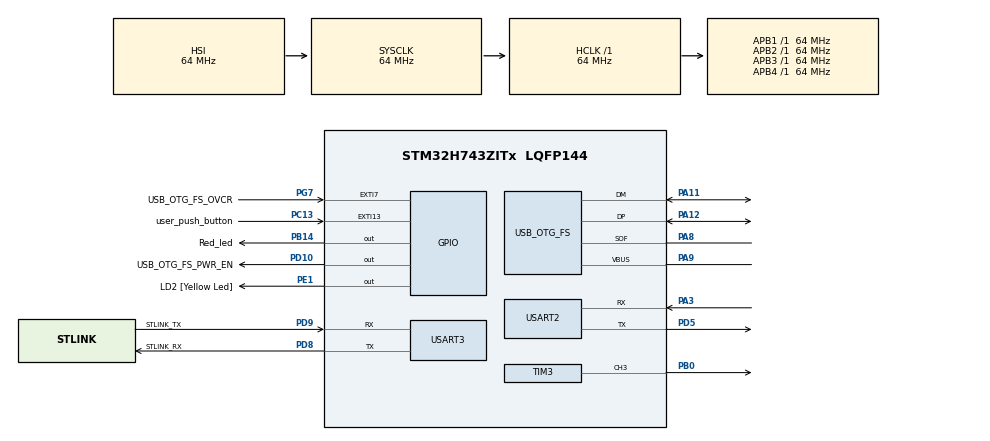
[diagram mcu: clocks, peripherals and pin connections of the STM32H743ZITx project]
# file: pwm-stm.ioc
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Mcu.Family=STM32H7
Mcu.Name=STM32H743ZITx
Mcu.Package=LQFP144
NVIC.EXTI15_10_IRQn=true\:0\:0\:false\:false\:true\:true\:true\:true
NVIC.PriorityGroup=NVIC_PRIORITYGROUP_4
NVIC.USART2_IRQn=true\:0\:0\:false\:false\:true\:true\:true\:true
PA1.Signal=ETH_REF_CLK
PA11.Mode=Device_Only
PA11.Signal=USB_OTG_FS_DM
PA12.Mode=Device_Only
PA12.Signal=USB_OTG_FS_DP
PA2.Signal=ETH_MDIO
PA3.Mode=Asynchronous
PA3.Signal=USART2_RX
PA7.Signal=ETH_CRS_DV
PA8.Mode=Activate_SOF_FS
PA8.Signal=USB_OTG_FS_SOF
PA9.Mode=Activate_VBUS
PA9.Signal=USB_OTG_FS_VBUS
PB0.Signal=S_TIM3_CH3
PB13.Signal=ETH_TXD1
PB14.GPIO_Label=Red_led
PB14.Signal=GPIO_Output
PC1.Signal=ETH_MDC
PC13.GPIO_Label=user_push_button
PC13.GPIO_PuPd=GPIO_PULLDOWN
PC13.Signal=GPXTI13
PC14-OSC32_IN\ (OSC32_IN).Mode=LSE-External-Oscillator
PC14-OSC32_IN\ (OSC32_IN).Signal=RCC_OSC32_IN
PC15-OSC32_OUT\ (OSC32_OUT).Mode=LSE-External-Oscillator
PC15-OSC32_OUT\ (OSC32_OUT).Signal=RCC_OSC32_OUT
PC4.Signal=ETH_RXD0
PC5.Signal=ETH_RXD1
PD10.GPIO_Label=USB_OTG_FS_PWR_EN
PD10.Signal=GPIO_Output
PD5.Mode=Asynchronous
PD5.Signal=USART2_TX
PD8.GPIO_Label=STLINK_RX
PD8.Mode=Asynchronous
PD8.Signal=USART3_TX
PD9.GPIO_Label=STLINK_TX
PD9.Mode=Asynchronous
PD9.Signal=USART3_RX
PE1.GPIO_Label=LD2 [Yellow Led]
PE1.Signal=GPIO_Output
PG11.Signal=ETH_TX_EN
PG13.Signal=ETH_TXD0
PG7.GPIO_Label=USB_OTG_FS_OVCR
PG7.Signal=GPXTI7
PH0-OSC_IN\ (PH0).Mode=HSE-External-Clock-Source
PH0-OSC_IN\ (PH0).Signal=RCC_OSC_IN
PH1-OSC_OUT\ (PH1).Signal=RCC_OSC_OUT
ProjectManager.HeapSize=0x200
ProjectManager.StackSize=0x400
ProjectManager.TargetToolchain=STM32CubeIDE
RCC.ADCFreq_Value=16125000
RCC.APB1Freq_Value=64000000
RCC.APB2Freq_Value=64000000
RCC.APB3Freq_Value=64000000
RCC.APB4Freq_Value=64000000
RCC.CortexFreq_Value=64000000
RCC.DIVM1=1
RCC.DIVN1=24
RCC.DIVQ1=4
RCC.HCLKFreq_Value=64000000
RCC.HSE_VALUE=8000000
RCC.PLLFRACN=0
RCC.PWR_Regulator_Voltage_Scale=PWR_REGULATOR_VOLTAGE_SCALE2
RCC.SYSCLKFreq_VALUE=64000000
RCC.USBFreq_Value=48000000
SH.S_TIM3_CH3.0=TIM3_CH3,PWM Generation3 CH3
TIM3.Channel-PWM\ Generation3\ CH3=TIM_CHANNEL_3
USART2.VirtualMode-Asynchronous=VM_ASYNC
USART3.VirtualMode-Asynchronous=VM_ASYNC
USB_OTG_FS.VirtualMode=Device_Only
board=NUCLEO-H743ZI2

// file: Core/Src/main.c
/* USER CODE BEGIN Header */
/**
  ******************************************************************************
  * @file           : main.c
  * @brief          : Main program body
  ******************************************************************************
  * @attention
  *
  * Copyright (c) 2024 STMicroelectronics.
  * All rights reserved.
  *
  * This software is licensed under terms that can be found in the LICENSE file
  * in the root directory of this software component.
  * If no LICENSE file comes with this software, it is provided AS-IS.
  *
  ******************************************************************************
  */
/* USER CODE END Header */
#include "main.h"

/* USER CODE BEGIN Includes */
#include <string.h>
#include <stdio.h>
/* USER CODE END Includes */

TIM_HandleTypeDef htim3;

UART_HandleTypeDef huart2;
UART_HandleTypeDef huart3;

PCD_HandleTypeDef hpcd_USB_OTG_FS;

void SystemClock_Config(void);
static void MX_GPIO_Init(void);
static void MX_USART3_UART_Init(void);
static void MX_USB_OTG_FS_PCD_Init(void);
static void MX_TIM3_Init(void);
static void MX_USART2_UART_Init(void);

/* USER CODE BEGIN 0 */

static uint8_t uart_rx_data[1024];

void HAL_UART_RxCpltCallback(UART_HandleTypeDef *huart)
{
    if (huart->Instance == USART2)
    {
        // Process the received data
    	HAL_UART_Transmit(&huart2, uart_rx_data, 32, 200);
        HAL_UART_Receive_IT(&huart2, uart_rx_data, 32); // Re-enable interrupt
    }
}

void USART3_IRQHandler(void)
{
    HAL_UART_IRQHandler(&huart3);
}

/* USER CODE END 0 */

int main(void)
{

  /* MCU Configuration--------------------------------------------------------*/

  /* Reset of all peripherals, Initializes the Flash interface and the Systick. */
  HAL_Init();

  /* Configure the system clock */
  SystemClock_Config();

  /* Initialize all configured peripherals */
  MX_GPIO_Init();
  MX_USART3_UART_Init();
  MX_USB_OTG_FS_PCD_Init();
  MX_TIM3_Init();
  MX_USART2_UART_Init();
  /* USER CODE BEGIN 2 */

  HAL_UART_Receive_IT(&huart2, uart_rx_data, 1024);

  HAL_TIM_PWM_Start(&htim3, TIM_CHANNEL_3);
  int count = 0;
  uint8_t data_tx[32] = {0};
  /* USER CODE END 2 */

  /* Infinite loop */
  /* USER CODE BEGIN WHILE */
  while (1)
  {

	  __HAL_TIM_SET_COMPARE(&htim3, TIM_CHANNEL_3, count);
	  count += 257;

	  memset(data_tx, 0, 32);
	  snprintf((char*)data_tx, 32, "The count is: %d\n", count);
	  HAL_UART_Transmit(&huart2, data_tx, 32, 200);
	  if(count >= htim3.Init.Period)
	  {
		  count = 0;
		  HAL_Delay(2000);
	  }
	  HAL_Delay(500);
    /* USER CODE END WHILE */

  }
}

void SystemClock_Config(void)
{
  RCC_OscInitTypeDef RCC_OscInitStruct = {0};
  RCC_ClkInitTypeDef RCC_ClkInitStruct = {0};

  /** Supply configuration update enable
  */
  HAL_PWREx_ConfigSupply(PWR_LDO_SUPPLY);

  /** Configure the main internal regulator output voltage
  */
  __HAL_PWR_VOLTAGESCALING_CONFIG(PWR_REGULATOR_VOLTAGE_SCALE2);

  while(!__HAL_PWR_GET_FLAG(PWR_FLAG_VOSRDY)) {}

  /** Initializes the RCC Oscillators according to the specified parameters
  * in the RCC_OscInitTypeDef structure.
  */
  RCC_OscInitStruct.OscillatorType = RCC_OSCILLATORTYPE_HSI|RCC_OSCILLATORTYPE_HSE;
  RCC_OscInitStruct.HSEState = RCC_HSE_BYPASS;
  RCC_OscInitStruct.HSIState = RCC_HSI_DIV1;
  RCC_OscInitStruct.HSICalibrationValue = RCC_HSICALIBRATION_DEFAULT;
  RCC_OscInitStruct.PLL.PLLState = RCC_PLL_ON;
  RCC_OscInitStruct.PLL.PLLSource = RCC_PLLSOURCE_HSE;
  RCC_OscInitStruct.PLL.PLLM = 1;
  RCC_OscInitStruct.PLL.PLLN = 24;
  RCC_OscInitStruct.PLL.PLLP = 2;
  RCC_OscInitStruct.PLL.PLLQ = 4;
  RCC_OscInitStruct.PLL.PLLR = 2;
  RCC_OscInitStruct.PLL.PLLRGE = RCC_PLL1VCIRANGE_3;
  RCC_OscInitStruct.PLL.PLLVCOSEL = RCC_PLL1VCOWIDE;
  RCC_OscInitStruct.PLL.PLLFRACN = 0;
  if (HAL_RCC_OscConfig(&RCC_OscInitStruct) != HAL_OK)
  {
    Error_Handler();
  }

  /** Initializes the CPU, AHB and APB buses clocks
  */
  RCC_ClkInitStruct.ClockType = RCC_CLOCKTYPE_HCLK|RCC_CLOCKTYPE_SYSCLK
                              |RCC_CLOCKTYPE_PCLK1|RCC_CLOCKTYPE_PCLK2
                              |RCC_CLOCKTYPE_D3PCLK1|RCC_CLOCKTYPE_D1PCLK1;
  RCC_ClkInitStruct.SYSCLKSource = RCC_SYSCLKSOURCE_HSI;
  RCC_ClkInitStruct.SYSCLKDivider = RCC_SYSCLK_DIV1;
  RCC_ClkInitStruct.AHBCLKDivider = RCC_HCLK_DIV1;
  RCC_ClkInitStruct.APB3CLKDivider = RCC_APB3_DIV1;
  RCC_ClkInitStruct.APB1CLKDivider = RCC_APB1_DIV1;
  RCC_ClkInitStruct.APB2CLKDivider = RCC_APB2_DIV1;
  RCC_ClkInitStruct.APB4CLKDivider = RCC_APB4_DIV1;

  if (HAL_RCC_ClockConfig(&RCC_ClkInitStruct, FLASH_LATENCY_1) != HAL_OK)
  {
    Error_Handler();
  }
}

static void MX_TIM3_Init(void)
{

  TIM_MasterConfigTypeDef sMasterConfig = {0};
  TIM_OC_InitTypeDef sConfigOC = {0};

  htim3.Instance = TIM3;
  htim3.Init.Prescaler = 0;
  htim3.Init.CounterMode = TIM_COUNTERMODE_UP;
  htim3.Init.Period = 65535;
  htim3.Init.ClockDivision = TIM_CLOCKDIVISION_DIV1;
  htim3.Init.AutoReloadPreload = TIM_AUTORELOAD_PRELOAD_DISABLE;
  if (HAL_TIM_PWM_Init(&htim3) != HAL_OK)
  {
    Error_Handler();
  }
  sMasterConfig.MasterOutputTrigger = TIM_TRGO_RESET;
  sMasterConfig.MasterSlaveMode = TIM_MASTERSLAVEMODE_DISABLE;
  if (HAL_TIMEx_MasterConfigSynchronization(&htim3, &sMasterConfig) != HAL_OK)
  {
    Error_Handler();
  }
  sConfigOC.OCMode = TIM_OCMODE_PWM1;
  sConfigOC.Pulse = 0;
  sConfigOC.OCPolarity = TIM_OCPOLARITY_HIGH;
  sConfigOC.OCFastMode = TIM_OCFAST_DISABLE;
  if (HAL_TIM_PWM_ConfigChannel(&htim3, &sConfigOC, TIM_CHANNEL_3) != HAL_OK)
  {
    Error_Handler();
  }
  HAL_TIM_MspPostInit(&htim3);

}

static void MX_USART2_UART_Init(void)
{

  huart2.Instance = USART2;
  huart2.Init.BaudRate = 115200;
  huart2.Init.WordLength = UART_WORDLENGTH_8B;
  huart2.Init.StopBits = UART_STOPBITS_1;
  huart2.Init.Parity = UART_PARITY_NONE;
  huart2.Init.Mode = UART_MODE_TX_RX;
  huart2.Init.HwFlowCtl = UART_HWCONTROL_NONE;
  huart2.Init.OverSampling = UART_OVERSAMPLING_16;
  huart2.Init.OneBitSampling = UART_ONE_BIT_SAMPLE_DISABLE;
  huart2.Init.ClockPrescaler = UART_PRESCALER_DIV1;
  huart2.AdvancedInit.AdvFeatureInit = UART_ADVFEATURE_NO_INIT;
  if (HAL_UART_Init(&huart2) != HAL_OK)
  {
    Error_Handler();
  }
  if (HAL_UARTEx_SetTxFifoThreshold(&huart2, UART_TXFIFO_THRESHOLD_1_8) != HAL_OK)
  {
    Error_Handler();
  }
  if (HAL_UARTEx_SetRxFifoThreshold(&huart2, UART_RXFIFO_THRESHOLD_1_8) != HAL_OK)
  {
    Error_Handler();
  }
  if (HAL_UARTEx_DisableFifoMode(&huart2) != HAL_OK)
  {
    Error_Handler();
  }

}

static void MX_USART3_UART_Init(void)
{

  huart3.Instance = USART3;
  huart3.Init.BaudRate = 115200;
  huart3.Init.WordLength = UART_WORDLENGTH_8B;
  huart3.Init.StopBits = UART_STOPBITS_1;
  huart3.Init.Parity = UART_PARITY_NONE;
  huart3.Init.Mode = UART_MODE_TX_RX;
  huart3.Init.HwFlowCtl = UART_HWCONTROL_NONE;
  huart3.Init.OverSampling = UART_OVERSAMPLING_16;
  huart3.Init.OneBitSampling = UART_ONE_BIT_SAMPLE_DISABLE;
  huart3.Init.ClockPrescaler = UART_PRESCALER_DIV1;
  huart3.AdvancedInit.AdvFeatureInit = UART_ADVFEATURE_NO_INIT;
  if (HAL_UART_Init(&huart3) != HAL_OK)
  {
    Error_Handler();
  }
  if (HAL_UARTEx_SetTxFifoThreshold(&huart3, UART_TXFIFO_THRESHOLD_1_8) != HAL_OK)
  {
    Error_Handler();
  }
  if (HAL_UARTEx_SetRxFifoThreshold(&huart3, UART_RXFIFO_THRESHOLD_1_8) != HAL_OK)
  {
    Error_Handler();
  }
  if (HAL_UARTEx_DisableFifoMode(&huart3) != HAL_OK)
  {
    Error_Handler();
  }

}

static void MX_USB_OTG_FS_PCD_Init(void)
{

  hpcd_USB_OTG_FS.Instance = USB_OTG_FS;
  hpcd_USB_OTG_FS.Init.dev_endpoints = 9;
  hpcd_USB_OTG_FS.Init.speed = PCD_SPEED_FULL;
  hpcd_USB_OTG_FS.Init.dma_enable = DISABLE;
  hpcd_USB_OTG_FS.Init.phy_itface = PCD_PHY_EMBEDDED;
  hpcd_USB_OTG_FS.Init.Sof_enable = ENABLE;
  hpcd_USB_OTG_FS.Init.low_power_enable = DISABLE;
  hpcd_USB_OTG_FS.Init.lpm_enable = DISABLE;
  hpcd_USB_OTG_FS.Init.battery_charging_enable = ENABLE;
  hpcd_USB_OTG_FS.Init.vbus_sensing_enable = ENABLE;
  hpcd_USB_OTG_FS.Init.use_dedicated_ep1 = DISABLE;
  if (HAL_PCD_Init(&hpcd_USB_OTG_FS) != HAL_OK)
  {
    Error_Handler();
  }

}

static void MX_GPIO_Init(void)
{
  GPIO_InitTypeDef GPIO_InitStruct = {0};

  /* GPIO Ports Clock Enable */
  __HAL_RCC_GPIOC_CLK_ENABLE();
  __HAL_RCC_GPIOH_CLK_ENABLE();
  __HAL_RCC_GPIOA_CLK_ENABLE();
  __HAL_RCC_GPIOB_CLK_ENABLE();
  __HAL_RCC_GPIOD_CLK_ENABLE();
  __HAL_RCC_GPIOG_CLK_ENABLE();
  __HAL_RCC_GPIOE_CLK_ENABLE();

  /*Configure GPIO pin Output Level */
  HAL_GPIO_WritePin(Red_led_GPIO_Port, Red_led_Pin, GPIO_PIN_RESET);

  /*Configure GPIO pin Output Level */
  HAL_GPIO_WritePin(USB_OTG_FS_PWR_EN_GPIO_Port, USB_OTG_FS_PWR_EN_Pin, GPIO_PIN_RESET);

  /*Configure GPIO pin Output Level */
  HAL_GPIO_WritePin(LD2_GPIO_Port, LD2_Pin, GPIO_PIN_RESET);

  /*Configure GPIO pin : user_push_button_Pin */
  GPIO_InitStruct.Pin = user_push_button_Pin;
  GPIO_InitStruct.Mode = GPIO_MODE_IT_RISING;
  GPIO_InitStruct.Pull = GPIO_PULLDOWN;
  HAL_GPIO_Init(user_push_button_GPIO_Port, &GPIO_InitStruct);

  /*Configure GPIO pins : PC1 PC4 PC5 */
  GPIO_InitStruct.Pin = GPIO_PIN_1|GPIO_PIN_4|GPIO_PIN_5;
  GPIO_InitStruct.Mode = GPIO_MODE_AF_PP;
  GPIO_InitStruct.Pull = GPIO_NOPULL;
  GPIO_InitStruct.Speed = GPIO_SPEED_FREQ_LOW;
  GPIO_InitStruct.Alternate = GPIO_AF11_ETH;
  HAL_GPIO_Init(GPIOC, &GPIO_InitStruct);

  /*Configure GPIO pins : PA1 PA2 PA7 */
  GPIO_InitStruct.Pin = GPIO_PIN_1|GPIO_PIN_2|GPIO_PIN_7;
  GPIO_InitStruct.Mode = GPIO_MODE_AF_PP;
  GPIO_InitStruct.Pull = GPIO_NOPULL;
  GPIO_InitStruct.Speed = GPIO_SPEED_FREQ_LOW;
  GPIO_InitStruct.Alternate = GPIO_AF11_ETH;
  HAL_GPIO_Init(GPIOA, &GPIO_InitStruct);

  /*Configure GPIO pin : PB13 */
  GPIO_InitStruct.Pin = GPIO_PIN_13;
  GPIO_InitStruct.Mode = GPIO_MODE_AF_PP;
  GPIO_InitStruct.Pull = GPIO_NOPULL;
  GPIO_InitStruct.Speed = GPIO_SPEED_FREQ_LOW;
  GPIO_InitStruct.Alternate = GPIO_AF11_ETH;
  HAL_GPIO_Init(GPIOB, &GPIO_InitStruct);

  /*Configure GPIO pin : Red_led_Pin */
  GPIO_InitStruct.Pin = Red_led_Pin;
  GPIO_InitStruct.Mode = GPIO_MODE_OUTPUT_PP;
  GPIO_InitStruct.Pull = GPIO_NOPULL;
  GPIO_InitStruct.Speed = GPIO_SPEED_FREQ_LOW;
  HAL_GPIO_Init(Red_led_GPIO_Port, &GPIO_InitStruct);

  /*Configure GPIO pin : USB_OTG_FS_PWR_EN_Pin */
  GPIO_InitStruct.Pin = USB_OTG_FS_PWR_EN_Pin;
  GPIO_InitStruct.Mode = GPIO_MODE_OUTPUT_PP;
  GPIO_InitStruct.Pull = GPIO_NOPULL;
  GPIO_InitStruct.Speed = GPIO_SPEED_FREQ_LOW;
  HAL_GPIO_Init(USB_OTG_FS_PWR_EN_GPIO_Port, &GPIO_InitStruct);

  /*Configure GPIO pin : USB_OTG_FS_OVCR_Pin */
  GPIO_InitStruct.Pin = USB_OTG_FS_OVCR_Pin;
  GPIO_InitStruct.Mode = GPIO_MODE_IT_RISING;
  GPIO_InitStruct.Pull = GPIO_NOPULL;
  HAL_GPIO_Init(USB_OTG_FS_OVCR_GPIO_Port, &GPIO_InitStruct);

  /*Configure GPIO pins : PG11 PG13 */
  GPIO_InitStruct.Pin = GPIO_PIN_11|GPIO_PIN_13;
  GPIO_InitStruct.Mode = GPIO_MODE_AF_PP;
  GPIO_InitStruct.Pull = GPIO_NOPULL;
  GPIO_InitStruct.Speed = GPIO_SPEED_FREQ_LOW;
  GPIO_InitStruct.Alternate = GPIO_AF11_ETH;
  HAL_GPIO_Init(GPIOG, &GPIO_InitStruct);

  /*Configure GPIO pin : LD2_Pin */
  GPIO_InitStruct.Pin = LD2_Pin;
  GPIO_InitStruct.Mode = GPIO_MODE_OUTPUT_PP;
  GPIO_InitStruct.Pull = GPIO_NOPULL;
  GPIO_InitStruct.Speed = GPIO_SPEED_FREQ_LOW;
  HAL_GPIO_Init(LD2_GPIO_Port, &GPIO_InitStruct);

  /* EXTI interrupt init*/
  HAL_NVIC_SetPriority(EXTI15_10_IRQn, 0, 0);
  HAL_NVIC_EnableIRQ(EXTI15_10_IRQn);

}

/* USER CODE BEGIN 4 */
void HAL_GPIO_EXTI_Callback(uint16_t GPIO_Pin)
{
    if (GPIO_Pin == GPIO_PIN_13)
    {
    	const char* interrupt_data = "Interrupt received\n";
    	HAL_UART_Transmit(&huart2, (const uint8_t*)interrupt_data, strlen(interrupt_data), 200);
        // Handle the button press here
        HAL_GPIO_TogglePin(GPIOB, GPIO_PIN_14); // Toggle an LED for example
    }
}

//void EXTI15_10_IRQHandler(void)
//{
//	const char* interrupt_data = "Interrupt received";
//	HAL_UART_Transmit(&huart2, (const uint8_t*)interrupt_data, strlen(interrupt_data), 200);
//    HAL_GPIO_EXTI_IRQHandler(GPIO_PIN_13);
//}
/* USER CODE END 4 */

void Error_Handler(void)
{
  __disable_irq();
  while (1)
  {
  }
}
